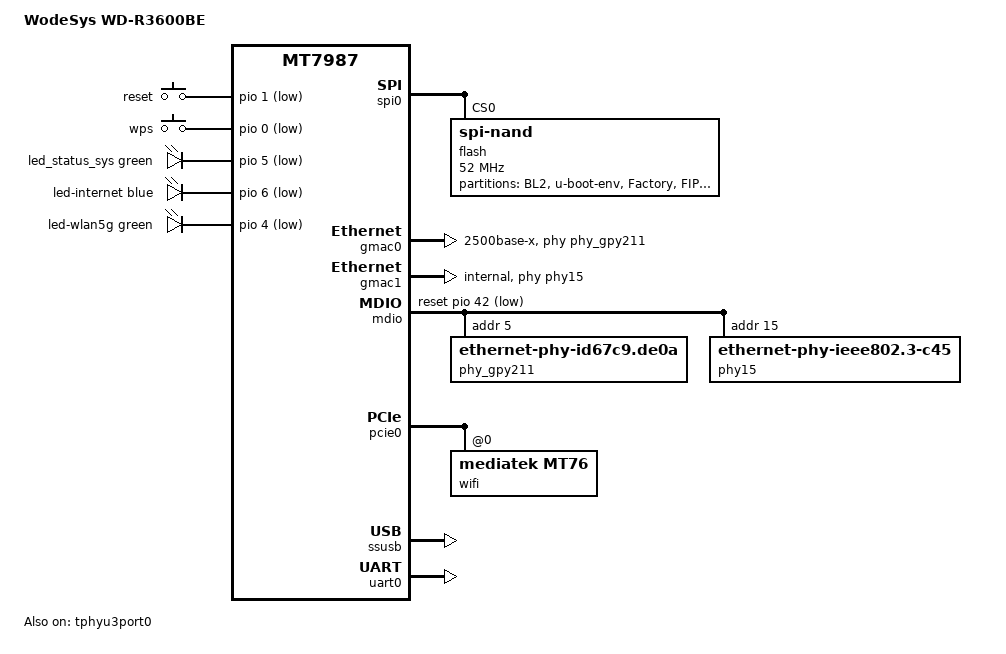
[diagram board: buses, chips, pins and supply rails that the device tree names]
// SPDX-License-Identifier: (GPL-2.0 OR MIT)
/*
 * Author: Sam Chu <cqs6688@gmail.com>
 */

/dts-v1/;
#include "mt7987a.dtsi"
#include <dt-bindings/input/input.h>

/ {
	model = "WodeSys WD-R3600BE";
	compatible = "wodesys,wd-r3600be", "mediatek,mt7987a", "mediatek,mt7987";

	aliases {
		label-mac-device = &gmac1;
		led-boot = &led_status_sys;
		led-failsafe = &led_status_sys;
		led-running = &led_status_sys;
		led-upgrade = &led_status_sys;
	};

	chosen {
		bootargs-override = "console=ttyS0,115200n1 earlycon=uart8250,mmio32,0x11000000 pci=pcie_bus_perf";
	};

	gpio-keys {
		compatible = "gpio-keys";

		reset {
			label = "reset";
			linux,code = <KEY_RESTART>;
			gpios = <&pio 1 GPIO_ACTIVE_LOW>;
			debounce-interval = <10>;
		};

		wps {
			label = "wps";
			linux,code = <KEY_WPS_BUTTON>;
			gpios = <&pio 0 GPIO_ACTIVE_LOW>;
			debounce-interval = <10>;
		};
	};

	gpio-leds {
		compatible = "gpio-leds";

		led_status_sys: led-system {
			function = LED_FUNCTION_STATUS;
			color = <LED_COLOR_ID_GREEN>;
			gpios = <&pio 5 GPIO_ACTIVE_LOW>;
		};

		led-internet {
			function = LED_FUNCTION_WAN_ONLINE;
			color = <LED_COLOR_ID_BLUE>;
			gpios = <&pio 6 GPIO_ACTIVE_LOW>;
		};

		led-wlan5g {
			color = <LED_COLOR_ID_GREEN>;
			function = LED_FUNCTION_WLAN;
			gpios = <&pio 4 GPIO_ACTIVE_LOW>;
			function-enumerator = <1>;
			linux,default-trigger = "phy0radio";
		};
	};
};

&spi0 {
	pinctrl-names = "default";
	pinctrl-0 = <&spi0_flash_pins>;
	status = "okay";

	flash@0 {
		compatible = "spi-nand";
		reg = <0>;
		spi-max-frequency = <52000000>;
		spi-tx-bus-width = <4>;
		spi-rx-bus-width = <4>;
		mediatek,nmbm;
		mediatek,bmt-max-ratio = <1>;
		mediatek,bmt-max-reserved-blocks = <64>;

		partitions {
			compatible = "fixed-partitions";
			#address-cells = <1>;
			#size-cells = <1>;

			partition@0 {
				label = "BL2";
				reg = <0x000000 0x0100000>;
				read-only;
			};

			partition@100000 {
				label = "u-boot-env";
				reg = <0x100000 0x0080000>;
			};

			partition@180000 {
				label = "Factory";
				reg = <0x180000 0x0400000>;
				read-only;

				nvmem-layout {
					compatible = "fixed-layout";
					#address-cells = <1>;
					#size-cells = <1>;

					eeprom_factory_0: eeprom@0 {
						reg = <0x0 0x1e00>;
					};

					macaddr_factory_ffff4: macaddr@ffff4 {
						reg = <0xffff4 0x6>;
					};

					macaddr_factory_ffffa: macaddr@ffffa {
						reg = <0xffffa 0x6>;
					};
				};
			};

			partition@580000 {
				label = "FIP";
				reg = <0x580000 0x0200000>;
				read-only;
			};

			partition@780000 {
				label = "ubi";
				reg = <0x780000 0x7080000>;
			};
		};
	};
};

&gmac0 {
	phy-mode = "2500base-x";
	phy-handle = <&phy_gpy211>;
	status = "okay";

	nvmem-cells = <&macaddr_factory_ffffa>;
	nvmem-cell-names = "mac-address";
};

&gmac1 {
	phy-mode = "internal";
	phy-handle = <&phy15>;
	status = "okay";

	nvmem-cells = <&macaddr_factory_ffff4>;
	nvmem-cell-names = "mac-address";
};

&gmac2 {
	status = "disabled";
};

&mdio {
	reset-gpios = <&pio 42 GPIO_ACTIVE_LOW>;
	reset-delay-us = <600>;
	reset-post-delay-us = <20000>;

	phy_gpy211: phy@5 {
		compatible = "ethernet-phy-id67c9.de0a";
		reg = <5>;
	};

	phy15: phy@15 {
		compatible = "ethernet-phy-ieee802.3-c45";
		reg = <15>;
	};
};

&pcie0 {
	pinctrl-names = "default";
	pinctrl-0 = <&pcie0_pins>;
	status = "okay";

	pcie@0,0 {
		reg = <0x0000 0 0 0 0>;
		device_type = "pci";
		#address-cells = <3>;
		#size-cells = <2>;

		wifi@0,0 {
			compatible = "mediatek,mt76";
			reg = <0x0000 0 0 0 0>;

			nvmem-cells = <&eeprom_factory_0>;
			nvmem-cell-names = "eeprom";

			ieee80211-freq-limit = <2400000 2500000>,
					       <5170000 5835000>;
		};
	};
};

&ssusb {
	status = "okay";
};

&tphyu3port0 {
	status = "okay";
};

&uart0 {
	pinctrl-names = "default";
	pinctrl-0 = <&uart0_pins>;
	status = "okay";
};
